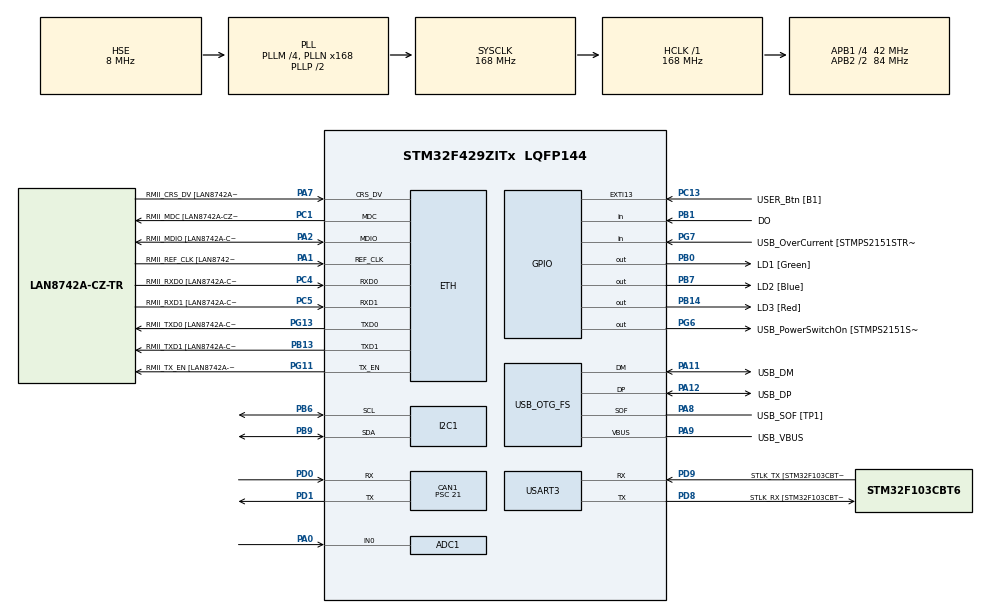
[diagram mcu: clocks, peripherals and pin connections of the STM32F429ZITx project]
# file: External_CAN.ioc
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ADC1.Channel-0\#ChannelRegularConversion=ADC_CHANNEL_0
ADC1.NbrOfConversionFlag=1
ADC1.Rank-0\#ChannelRegularConversion=1
ADC1.SamplingTime-0\#ChannelRegularConversion=ADC_SAMPLETIME_3CYCLES
ADC1.master=1
CAN1.BS1=CAN_BS1_15TQ
CAN1.BS2=CAN_BS2_4TQ
CAN1.CalculateBaudRate=100000
CAN1.CalculateTimeBit=10000
CAN1.CalculateTimeQuantum=500.0
CAN1.Prescaler=21
ETH.MediaInterface=HAL_ETH_RMII_MODE
ETH.PHY_Name=LAN8742A_PHY_ADDRESS
ETH.PHY_Value=0
ETH.PhyAddress=0
I2C1.I2C_Mode=I2C_Fast
Mcu.Family=STM32F4
Mcu.Name=STM32F429ZITx
Mcu.Package=LQFP144
NVIC.I2C1_ER_IRQn=true\:0\:0\:false\:false\:true\:true\:true\:true
NVIC.I2C1_EV_IRQn=true\:0\:0\:false\:false\:true\:true\:true\:true
NVIC.PriorityGroup=NVIC_PRIORITYGROUP_4
PA0/WKUP.Signal=ADCx_IN0
PA1.GPIO_Label=RMII_REF_CLK [LAN8742A-CZ-TR_REFCLK0]
PA1.Mode=RMII
PA1.Signal=ETH_REF_CLK
PA10.GPIO_Label=USB_ID
PA10.Signal=USB_OTG_FS_ID
PA11.GPIO_Label=USB_DM
PA11.Mode=Device_Only
PA11.Signal=USB_OTG_FS_DM
PA12.GPIO_Label=USB_DP
PA12.Mode=Device_Only
PA12.Signal=USB_OTG_FS_DP
PA13.GPIO_Label=TMS
PA13.Mode=Serial_Wire
PA13.Signal=SYS_JTMS-SWDIO
PA14.GPIO_Label=TCK
PA14.Mode=Serial_Wire
PA14.Signal=SYS_JTCK-SWCLK
PA2.GPIO_Label=RMII_MDIO [LAN8742A-CZ-TR_MDIO]
PA2.Mode=RMII
PA2.Signal=ETH_MDIO
PA7.GPIO_Label=RMII_CRS_DV [LAN8742A-CZ-TR_CRS_DV]
PA7.Mode=RMII
PA7.Signal=ETH_CRS_DV
PA8.GPIO_Label=USB_SOF [TP1]
PA8.Mode=Activate_SOF_FS
PA8.Signal=USB_OTG_FS_SOF
PA9.GPIO_Label=USB_VBUS
PA9.Mode=Activate_VBUS
PA9.Signal=USB_OTG_FS_VBUS
PB0.GPIO_Label=LD1 [Green]
PB0.Signal=GPIO_Output
PB1.GPIO_Label=DO
PB1.Signal=GPIO_Input
PB13.GPIO_Label=RMII_TXD1 [LAN8742A-CZ-TR_TXD1]
PB13.Mode=RMII
PB13.Signal=ETH_TXD1
PB14.GPIO_Label=LD3 [Red]
PB14.Signal=GPIO_Output
PB6.Mode=I2C
PB6.Signal=I2C1_SCL
PB7.GPIO_Label=LD2 [Blue]
PB7.Signal=GPIO_Output
PB9.Mode=I2C
PB9.Signal=I2C1_SDA
PC1.GPIO_Label=RMII_MDC [LAN8742A-CZ-TR_MDC]
PC1.Mode=RMII
PC1.Signal=ETH_MDC
PC13.GPIO_Label=USER_Btn [B1]
PC13.Signal=GPXTI13
PC14/OSC32_IN.Mode=LSE-External-Oscillator
PC14/OSC32_IN.Signal=RCC_OSC32_IN
PC15/OSC32_OUT.Mode=LSE-External-Oscillator
PC15/OSC32_OUT.Signal=RCC_OSC32_OUT
PC4.GPIO_Label=RMII_RXD0 [LAN8742A-CZ-TR_RXD0]
PC4.Mode=RMII
PC4.Signal=ETH_RXD0
PC5.GPIO_Label=RMII_RXD1 [LAN8742A-CZ-TR_RXD1]
PC5.Mode=RMII
PC5.Signal=ETH_RXD1
PD0.Mode=CAN_Activate
PD0.Signal=CAN1_RX
PD1.Mode=CAN_Activate
PD1.Signal=CAN1_TX
PD8.GPIO_Label=STLK_RX [STM32F103CBT6_PA3]
PD8.Mode=Asynchronous
PD8.Signal=USART3_TX
PD9.GPIO_Label=STLK_TX [STM32F103CBT6_PA2]
PD9.Mode=Asynchronous
PD9.Signal=USART3_RX
PG11.GPIO_Label=RMII_TX_EN [LAN8742A-CZ-TR_TXEN]
PG11.Mode=RMII
PG11.Signal=ETH_TX_EN
PG13.GPIO_Label=RMII_TXD0 [LAN8742A-CZ-TR_TXD0]
PG13.Mode=RMII
PG13.Signal=ETH_TXD0
PG6.GPIO_Label=USB_PowerSwitchOn [STMPS2151STR_EN]
PG6.Signal=GPIO_Output
PG7.GPIO_Label=USB_OverCurrent [STMPS2151STR_FAULT]
PG7.Signal=GPIO_Input
PH0/OSC_IN.GPIO_Label=MCO [STM32F103CBT6_PA8]
PH0/OSC_IN.Mode=HSE-External-Clock-Source
PH0/OSC_IN.Signal=RCC_OSC_IN
PH1/OSC_OUT.Mode=HSE-External-Clock-Source
PH1/OSC_OUT.Signal=RCC_OSC_OUT
ProjectManager.HeapSize=0x200
ProjectManager.StackSize=0x400
ProjectManager.TargetToolchain=STM32CubeIDE
RCC.48MHZClocksFreq_Value=48000000
RCC.AHBFreq_Value=168000000
RCC.APB1CLKDivider=RCC_HCLK_DIV4
RCC.APB1Freq_Value=42000000
RCC.APB1TimFreq_Value=84000000
RCC.APB2CLKDivider=RCC_HCLK_DIV2
RCC.APB2Freq_Value=84000000
RCC.APB2TimFreq_Value=168000000
RCC.CortexFreq_Value=168000000
RCC.HCLKFreq_Value=168000000
RCC.HSE_VALUE=8000000
RCC.HSI_VALUE=16000000
RCC.PLLM=4
RCC.PLLMUL=RCC_PLL_MUL9
RCC.PLLN=168
RCC.PLLQ=7
RCC.PRESCALERUSB=RCC_USBCLKSOURCE_PLL_DIV1_5
RCC.SYSCLKFreq_VALUE=168000000
RCC.SYSCLKSource=RCC_SYSCLKSOURCE_PLLCLK
RCC.SYSCLKSourceVirtual=RCC_SYSCLKSOURCE_PLLCLK
RCC.USBFreq_Value=48000000
RCC.VCOOutputFreq_Value=336000000
SH.ADCx_IN0.0=ADC1_IN0,IN0
USART3.VirtualMode=VM_ASYNC
USB_OTG_FS.VirtualMode=Device_Only
board=NUCLEO-F429ZI

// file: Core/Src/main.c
/* USER CODE BEGIN Header */
/**
  ******************************************************************************
  * @file           : main.c
  * @brief          : Main program body
  ******************************************************************************
  * @attention
  *
  * Copyright (c) 2025 STMicroelectronics.
  * All rights reserved.
  *
  * This software is licensed under terms that can be found in the LICENSE file
  * in the root directory of this software component.
  * If no LICENSE file comes with this software, it is provided AS-IS.
  *
  ******************************************************************************
  */
/* USER CODE END Header */
#include "main.h"
#include "adc.h"
#include "can.h"
#include "eth.h"
#include "i2c.h"
#include "usart.h"
#include "usb_otg.h"
#include "gpio.h"

/* USER CODE BEGIN Includes */
#include "bh1750.h"
/* USER CODE END Includes */

/* USER CODE BEGIN PV */
CAN_RxHeaderTypeDef rxHeader;
uint8_t rxData[8];
/* USER CODE END PV */

void SystemClock_Config(void);
/* USER CODE BEGIN PFP */
void I2C_Scan(void)
{
    HAL_StatusTypeDef result;
    char msg[30];

    //HAL_UART_Transmit(&huart3, (uint8_t *)"Scanning I2C bus...\r\n", 21, HAL_MAX_DELAY);

    for(uint16_t addr = 1; addr < 128; addr++)
    {
        // Check the sensor status
        result = HAL_I2C_IsDeviceReady(&hi2c1, (uint16_t)(addr << 1), 1, 10);

        if(result == HAL_OK)
        {
        	Uart3_Printf("Found device at 0x%02X\r\n", addr);
        }
    }
}
/* USER CODE END PFP */

int main(void)
{
  /* USER CODE BEGIN 1 */
	// txData: [2:1] bit = Wiper flag
	// txData: [0:0] bit = Headlight flag
	uint8_t txData = -1;

	float BH1750_lux = 0;
	uint32_t rain_adc_value = 0;
	GPIO_PinState rain_detected;
	uint16_t lux_short = 0;

	uint8_t wiper_status = 0;
	uint8_t light_status = 0;
	uint8_t Wiper_Light_flag = 0;

  /* USER CODE END 1 */

  /* MCU Configuration--------------------------------------------------------*/

  /* Reset of all peripherals, Initializes the Flash interface and the Systick. */
  HAL_Init();

  /* Configure the system clock */
  SystemClock_Config();

  /* Initialize all configured peripherals */
  MX_GPIO_Init();
  MX_ETH_Init();
  MX_USART3_UART_Init();
  MX_USB_OTG_FS_PCD_Init();
  MX_CAN1_Init();
  MX_ADC1_Init();
  MX_I2C1_Init();
  /* USER CODE BEGIN 2 */
	BH1750_Init(&hi2c1);
	BH1750_SetMode(CONTINUOUS_LOW_RES_MODE);
	I2C_Scan();

  /* USER CODE END 2 */

  /* Infinite loop */
  /* USER CODE BEGIN WHILE */

  while (1)
  {
		// Read Rain_ADC
		HAL_ADC_Start(&hadc1);
		if (HAL_ADC_PollForConversion(&hadc1, 10) == HAL_OK) {
			rain_adc_value = HAL_ADC_GetValue(&hadc1);
		}
		else {
			rain_adc_value = -1;
		}
		HAL_ADC_Stop(&hadc1);

		// Read Illuminance
		if (BH1750_OK == BH1750_ReadLight(&BH1750_lux)) {
			lux_short = (uint16_t)BH1750_lux;
		}
		else {
			lux_short = -1;
		}

		// Update status
		if(5000 > rain_adc_value && rain_adc_value >= 3000 ){
			Wiper_Light_flag = 0;
		}
		else if(3000 > rain_adc_value && rain_adc_value >= 2000){
			Wiper_Light_flag = 1 << 1;
		}
		else if (2000 > rain_adc_value && rain_adc_value >= 0){
			Wiper_Light_flag = 2 << 1;
		}
		else{
			Uart3_Printf("Unexpected rain_adc_value!\r\n");
			continue;
		}

		if(lux_short < 200){
			Wiper_Light_flag |= 0b1;
		}
		else if(lux_short == -1){
			Uart3_Printf("Unexpected lux_short!\r\n");
			continue;
		}
		else {
			Wiper_Light_flag &= ~0b1;
		}

		// Check the data
		Uart3_Printf("CAN Send Lux = %d, ADC = %d, Status = %d\r\n",lux_short, rain_adc_value, Wiper_Light_flag);

		// Send CAN message
		if (txData != Wiper_Light_flag){
			txData = Wiper_Light_flag;
			Uart3_Printf("CAN send - Status update\r\n");
			CAN1_tx(&txData);
		}
		else{
			Uart3_Printf("Skip CAN send - No status update\r\n");
		}

		HAL_Delay(500);
    /* USER CODE END WHILE */

  }
}

void SystemClock_Config(void)
{
  RCC_OscInitTypeDef RCC_OscInitStruct = {0};
  RCC_ClkInitTypeDef RCC_ClkInitStruct = {0};

  /** Configure the main internal regulator output voltage
  */
  __HAL_RCC_PWR_CLK_ENABLE();
  __HAL_PWR_VOLTAGESCALING_CONFIG(PWR_REGULATOR_VOLTAGE_SCALE1);

  /** Initializes the RCC Oscillators according to the specified parameters
  * in the RCC_OscInitTypeDef structure.
  */
  RCC_OscInitStruct.OscillatorType = RCC_OSCILLATORTYPE_HSE;
  RCC_OscInitStruct.HSEState = RCC_HSE_BYPASS;
  RCC_OscInitStruct.PLL.PLLState = RCC_PLL_ON;
  RCC_OscInitStruct.PLL.PLLSource = RCC_PLLSOURCE_HSE;
  RCC_OscInitStruct.PLL.PLLM = 4;
  RCC_OscInitStruct.PLL.PLLN = 168;
  RCC_OscInitStruct.PLL.PLLP = RCC_PLLP_DIV2;
  RCC_OscInitStruct.PLL.PLLQ = 7;
  if (HAL_RCC_OscConfig(&RCC_OscInitStruct) != HAL_OK)
  {
    Error_Handler();
  }

  /** Initializes the CPU, AHB and APB buses clocks
  */
  RCC_ClkInitStruct.ClockType = RCC_CLOCKTYPE_HCLK|RCC_CLOCKTYPE_SYSCLK
                              |RCC_CLOCKTYPE_PCLK1|RCC_CLOCKTYPE_PCLK2;
  RCC_ClkInitStruct.SYSCLKSource = RCC_SYSCLKSOURCE_PLLCLK;
  RCC_ClkInitStruct.AHBCLKDivider = RCC_SYSCLK_DIV1;
  RCC_ClkInitStruct.APB1CLKDivider = RCC_HCLK_DIV4;
  RCC_ClkInitStruct.APB2CLKDivider = RCC_HCLK_DIV2;

  if (HAL_RCC_ClockConfig(&RCC_ClkInitStruct, FLASH_LATENCY_5) != HAL_OK)
  {
    Error_Handler();
  }
}

void Error_Handler(void)
{
  __disable_irq();
  while (1)
  {
  }
}
